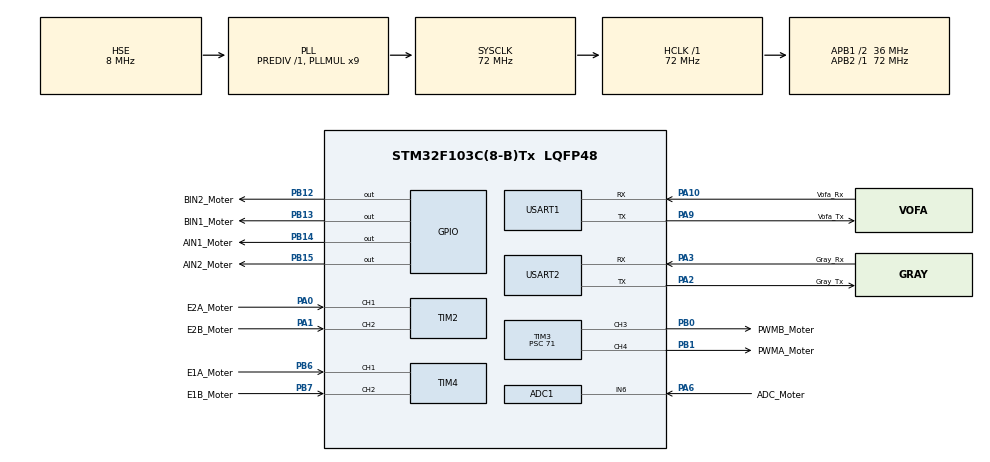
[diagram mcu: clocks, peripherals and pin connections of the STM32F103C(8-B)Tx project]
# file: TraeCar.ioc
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ADC1.Channel-0\#ChannelRegularConversion=ADC_CHANNEL_6
ADC1.NbrOfConversionFlag=1
ADC1.Rank-0\#ChannelRegularConversion=1
ADC1.SamplingTime-0\#ChannelRegularConversion=ADC_SAMPLETIME_1CYCLE_5
ADC1.master=1
Mcu.Family=STM32F1
Mcu.Name=STM32F103C(8-B)Tx
Mcu.Package=LQFP48
NVIC.PriorityGroup=NVIC_PRIORITYGROUP_4
NVIC.TIM1_UP_IRQn=true\:0\:0\:false\:false\:true\:true\:true\:true
NVIC.USART2_IRQn=true\:0\:0\:false\:false\:true\:true\:true\:true
PA0-WKUP.GPIO_Label=E2A_Moter
PA0-WKUP.GPIO_Mode=GPIO_MODE_INPUT
PA0-WKUP.GPIO_PuPd=GPIO_PULLUP
PA0-WKUP.Signal=S_TIM2_CH1_ETR
PA1.GPIO_Label=E2B_Moter
PA1.GPIO_PuPd=GPIO_PULLUP
PA1.Signal=S_TIM2_CH2
PA10.GPIO_Label=Vofa_Rx
PA10.Mode=Asynchronous
PA10.Signal=USART1_RX
PA13.Mode=Serial_Wire
PA13.Signal=SYS_JTMS-SWDIO
PA14.Mode=Serial_Wire
PA14.Signal=SYS_JTCK-SWCLK
PA2.GPIO_Label=Gray_Tx
PA2.Mode=Asynchronous
PA2.Signal=USART2_TX
PA3.GPIO_Label=Gray_Rx
PA3.Mode=Asynchronous
PA3.Signal=USART2_RX
PA6.GPIO_Label=ADC_Moter
PA6.GPIO_Mode=GPIO_MODE_ANALOG
PA6.Signal=ADCx_IN6
PA9.GPIO_Label=Vofa_Tx
PA9.Mode=Asynchronous
PA9.Signal=USART1_TX
PB0.GPIO_Label=PWMB_Moter
PB0.Signal=S_TIM3_CH3
PB1.GPIO_Label=PWMA_Moter
PB1.Signal=S_TIM3_CH4
PB12.GPIO_Label=BIN2_Moter
PB12.GPIO_ModeDefaultOutputPP=GPIO_MODE_OUTPUT_PP
PB12.GPIO_PuPd=GPIO_NOPULL
PB12.Signal=GPIO_Output
PB13.GPIO_Label=BIN1_Moter
PB13.Signal=GPIO_Output
PB14.GPIO_Label=AIN1_Moter
PB14.Signal=GPIO_Output
PB15.GPIO_Label=AIN2_Moter
PB15.Signal=GPIO_Output
PB6.GPIO_Label=E1A_Moter
PB6.Signal=S_TIM4_CH1
PB7.GPIO_Label=E1B_Moter
PB7.Signal=S_TIM4_CH2
PD0-OSC_IN.Mode=HSE-External-Oscillator
PD0-OSC_IN.Signal=RCC_OSC_IN
PD1-OSC_OUT.Mode=HSE-External-Oscillator
PD1-OSC_OUT.Signal=RCC_OSC_OUT
ProjectManager.HeapSize=0x200
ProjectManager.StackSize=0x400
ProjectManager.TargetToolchain=MDK-ARM V5.32
RCC.ADCPresc=RCC_ADCPCLK2_DIV6
RCC.AHBFreq_Value=72000000
RCC.APB1CLKDivider=RCC_HCLK_DIV2
RCC.APB1Freq_Value=36000000
RCC.APB1TimFreq_Value=72000000
RCC.APB2Freq_Value=72000000
RCC.APB2TimFreq_Value=72000000
RCC.HCLKFreq_Value=72000000
RCC.PLLMUL=RCC_PLL_MUL9
RCC.PLLSourceVirtual=RCC_PLLSOURCE_HSE
RCC.SYSCLKFreq_VALUE=72000000
RCC.SYSCLKSource=RCC_SYSCLKSOURCE_PLLCLK
RCC.USBFreq_Value=72000000
SH.ADCx_IN6.0=ADC1_IN6,IN6
SH.S_TIM2_CH1_ETR.0=TIM2_CH1,Encoder_Interface
SH.S_TIM2_CH2.0=TIM2_CH2,Encoder_Interface
SH.S_TIM3_CH3.0=TIM3_CH3,PWM Generation3 CH3
SH.S_TIM3_CH4.0=TIM3_CH4,PWM Generation4 CH4
SH.S_TIM4_CH1.0=TIM4_CH1,Encoder_Interface
SH.S_TIM4_CH2.0=TIM4_CH2,Encoder_Interface
TIM1.Period=99
TIM1.Prescaler=7199
TIM2.EncoderMode=TIM_ENCODERMODE_TI12
TIM3.Channel-PWM\ Generation3\ CH3=TIM_CHANNEL_3
TIM3.Channel-PWM\ Generation4\ CH4=TIM_CHANNEL_4
TIM3.Period=999
TIM3.Prescaler=71
TIM4.EncoderMode=TIM_ENCODERMODE_TI12
USART1.VirtualMode=VM_ASYNC
USART2.VirtualMode=VM_ASYNC
VP_TIM1_VS_ClockSourceINT.Mode=Internal
board=custom

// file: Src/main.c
/* USER CODE BEGIN Header */
/**
  ******************************************************************************
  * @file           : main.c
  * @brief          : Main program body
  ******************************************************************************
  * @attention
  *
  * Copyright (c) 2026 STMicroelectronics.
  * All rights reserved.
  *
  * This software is licensed under terms that can be found in the LICENSE file
  * in the root directory of this software component.
  * If no LICENSE file comes with this software, it is provided AS-IS.
  *
  ******************************************************************************
  */
/* USER CODE END Header */
#include "main.h"
#include "adc.h"
#include "tim.h"
#include "usart.h"
#include "gpio.h"

/* USER CODE BEGIN Includes */
#include "motor.h"
#include "pid.h"
#include "bsp.h"
#include "vofa.h"
#include "controller.h"
#include "gray.h"
/* USER CODE END Includes */

void SystemClock_Config(void);

/* USER CODE BEGIN 0 */
//标志位
uint8_t Controller_ready=0;

float filtered_speed=0.0f;
const float a=0.8;
//基础速度
float BaseSpeed=60.0f;
float pos_error=0.0f;//传感器偏差
/*  实例  */
PID_t A_speed_pid;
PID_t B_speed_pid;
PID_t A_position_pid;
PID_t B_position_pid;
PID_t gray_position_pid;
Motor_t A_left_motor;
Motor_t B_right_motor;
/* USER CODE END 0 */

int main(void)
{

  /* MCU Configuration--------------------------------------------------------*/

  /* Reset of all peripherals, Initializes the Flash interface and the Systick. */
  HAL_Init();

  /* Configure the system clock */
  SystemClock_Config();

  /* Initialize all configured peripherals */
  MX_GPIO_Init();
  MX_ADC1_Init();
  MX_TIM2_Init();
  MX_TIM4_Init();
  MX_TIM1_Init();
  MX_TIM3_Init();
  MX_USART1_UART_Init();
  MX_USART2_UART_Init();
  /* USER CODE BEGIN 2 */

    BSP_Init();
    HAL_TIM_Base_Start_IT(&htim1);
    Controller_Init();
    //Gray_SendConfig(1,0);//设置为接收模拟量
    Gray_SendConfig(0,1);//设置为接收数字量

    //上电延时，等待灰度传感器初始化 20s
    HAL_Delay(20*1000);

    //pwm软启动，防止开始速度过快（调试时应该使用，比赛可以考虑不用）

  /* USER CODE END 2 */

  /* Infinite loop */
  /* USER CODE BEGIN WHILE */
  while (1)
  {
    /*这个if判断里的东西有点多可以封装成函数*/

    if(Controller_ready==1){
        Controller_ready=0;

        //判断小车是否运行到临界位置 依旧每10ms判断一次
        //可以封装成函数
        if(Motor_GetPosition_m(&A_left_motor)>MaxDistance){
            if(Gray_GetAnalog(0)>Purple_min&&Gray_GetAnalog(0)<Purple_max){//左边的传感器进入终点区域
                static uint8_t begin=0;
                if(begin==0){
                    Controller_Set_Target_Position(A_position_pid.current_value+End_Move);
                    begin=1;
                }
                SetBaseSpeed();
            }
        }

        //计算pid并输出pwm ，每10ms触发一次
        gray_Controller_Update_Callback(BaseSpeed,pos_error);

        //临时测试：只读编码器计数，不驱动电机（手转轮子看 total 用）
//        Motor_Update_Speed(&A_left_motor);
//        Motor_Update_Speed(&B_right_motor);

        //每50ms发送数据
        static int send_sount=0;
        if(++send_sount>=5)
        {
            send_sount=0;

            /*以下代码可按需注释掉不需要的部分*/

//            //发送传感器偏移量
//            float data_to_send_gray[]={
//                                    gray_position_pid.target,//偏移量的目标值
//                                    gray_position_pid.current_value//偏移量的当前值
//            };
//            VOFA_SendData(data_to_send_gray,2);

//            //发送 A left 左轮速度
            float data_to_send_speedA[]={
                                    A_speed_pid.target,
                                    A_speed_pid.current_value
            };
            VOFA_SendData(data_to_send_speedA,2);

//            //发送 B right 右轮速度
            float data_to_send_speedB[]={
                                    B_speed_pid.target,
                                    B_speed_pid.current_value
            };
            VOFA_SendData(data_to_send_speedB,2);

             //发送传感器数据
             //VOFA_SendData((float*)gray_analog,8);
                //HAL_UART_Transmit(&huart1,(const uint8_t*)gray_digital,8,100);
                //VOFA_SendData(&pos_error,1);

        }
    }

    //计算偏移量
    if(gray_updated==1){
    //pos_error=Gray_CalcLineErrorAnalog();
    pos_error=Gray_CalcLineError();
    gray_updated=0;
    }

    /* USER CODE END WHILE */

  }
}

void SystemClock_Config(void)
{
  RCC_OscInitTypeDef RCC_OscInitStruct = {0};
  RCC_ClkInitTypeDef RCC_ClkInitStruct = {0};
  RCC_PeriphCLKInitTypeDef PeriphClkInit = {0};

  /** Initializes the RCC Oscillators according to the specified parameters
  * in the RCC_OscInitTypeDef structure.
  */
  RCC_OscInitStruct.OscillatorType = RCC_OSCILLATORTYPE_HSE;
  RCC_OscInitStruct.HSEState = RCC_HSE_ON;
  RCC_OscInitStruct.HSEPredivValue = RCC_HSE_PREDIV_DIV1;
  RCC_OscInitStruct.HSIState = RCC_HSI_ON;
  RCC_OscInitStruct.PLL.PLLState = RCC_PLL_ON;
  RCC_OscInitStruct.PLL.PLLSource = RCC_PLLSOURCE_HSE;
  RCC_OscInitStruct.PLL.PLLMUL = RCC_PLL_MUL9;
  if (HAL_RCC_OscConfig(&RCC_OscInitStruct) != HAL_OK)
  {
    Error_Handler();
  }

  /** Initializes the CPU, AHB and APB buses clocks
  */
  RCC_ClkInitStruct.ClockType = RCC_CLOCKTYPE_HCLK|RCC_CLOCKTYPE_SYSCLK
                              |RCC_CLOCKTYPE_PCLK1|RCC_CLOCKTYPE_PCLK2;
  RCC_ClkInitStruct.SYSCLKSource = RCC_SYSCLKSOURCE_PLLCLK;
  RCC_ClkInitStruct.AHBCLKDivider = RCC_SYSCLK_DIV1;
  RCC_ClkInitStruct.APB1CLKDivider = RCC_HCLK_DIV2;
  RCC_ClkInitStruct.APB2CLKDivider = RCC_HCLK_DIV1;

  if (HAL_RCC_ClockConfig(&RCC_ClkInitStruct, FLASH_LATENCY_2) != HAL_OK)
  {
    Error_Handler();
  }
  PeriphClkInit.PeriphClockSelection = RCC_PERIPHCLK_ADC;
  PeriphClkInit.AdcClockSelection = RCC_ADCPCLK2_DIV6;
  if (HAL_RCCEx_PeriphCLKConfig(&PeriphClkInit) != HAL_OK)
  {
    Error_Handler();
  }
}

/* USER CODE BEGIN 4 */

//每10ms进行更新中断
void HAL_TIM_PeriodElapsedCallback(TIM_HandleTypeDef *htim)
{
    if(htim->Instance==TIM1)
    {
        //置标志位表示进行PID计算
        Controller_ready=1;
    }
}

//每接受到一个字节就处理数据
void HAL_UART_RxCpltCallback(UART_HandleTypeDef *huart)
{
    if(huart->Instance==USART2)
    {
       Gray_UartRxCallback();
    }
}

/* USER CODE END 4 */

void Error_Handler(void)
{
  __disable_irq();
  while (1)
  {
  }
}
